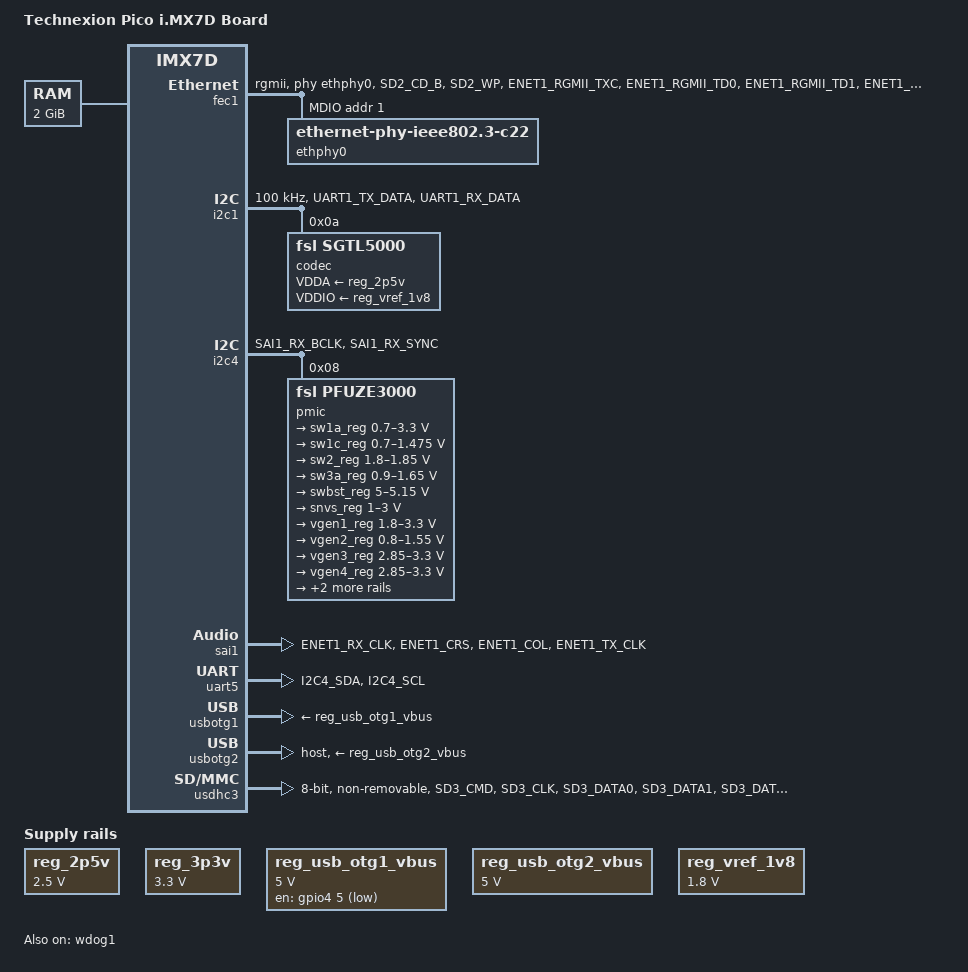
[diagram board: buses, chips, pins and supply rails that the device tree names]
/*
 * Copyright 2017 NXP
 *
 * This file is dual-licensed: you can use it either under the terms
 * of the GPL or the X11 license, at your option. Note that this dual
 * licensing only applies to this file, and not this project as a
 * whole.
 *
 *  a) This file is free software; you can redistribute it and/or
 *     modify it under the terms of the GNU General Public License as
 *     published by the Free Software Foundation; either version 2 of the
 *     License, or (at your option) any later version.
 *
 *     This file is distributed in the hope that it will be useful,
 *     but WITHOUT ANY WARRANTY; without even the implied warranty of
 *     MERCHANTABILITY or FITNESS FOR A PARTICULAR PURPOSE.  See the
 *     GNU General Public License for more details.
 *
 * Or, alternatively,
 *
 *  b) Permission is hereby granted, free of charge, to any person
 *     obtaining a copy of this software and associated documentation
 *     files (the "Software"), to deal in the Software without
 *     restriction, including without limitation the rights to use,
 *     copy, modify, merge, publish, distribute, sublicense, and/or
 *     sell copies of the Software, and to permit persons to whom the
 *     Software is furnished to do so, subject to the following
 *     conditions:
 *
 *     The above copyright notice and this permission notice shall be
 *     included in all copies or substantial portions of the Software.
 *
 *     THE SOFTWARE IS PROVIDED "AS IS", WITHOUT WARRANTY OF ANY KIND,
 *     EXPRESS OR IMPLIED, INCLUDING BUT NOT LIMITED TO THE WARRANTIES
 *     OF MERCHANTABILITY, FITNESS FOR A PARTICULAR PURPOSE AND
 *     NONINFRINGEMENT. IN NO EVENT SHALL THE AUTHORS OR COPYRIGHT
 *     HOLDERS BE LIABLE FOR ANY CLAIM, DAMAGES OR OTHER LIABILITY,
 *     WHETHER IN AN ACTION OF CONTRACT, TORT OR OTHERWISE, ARISING
 *     FROM, OUT OF OR IN CONNECTION WITH THE SOFTWARE OR THE USE OR
 *     OTHER DEALINGS IN THE SOFTWARE.
 */

/dts-v1/;

#include "imx7d.dtsi"

/ {
	model = "Technexion Pico i.MX7D Board";
	compatible = "technexion,imx7d-pico", "fsl,imx7d";

	memory {
		reg = <0x80000000 0x80000000>;
	};

	reg_2p5v: regulator-2p5v {
		compatible = "regulator-fixed";
		regulator-name = "2P5V";
		regulator-min-microvolt = <2500000>;
		regulator-max-microvolt = <2500000>;
		regulator-always-on;
	};

	reg_3p3v: regulator-3p3v {
		compatible = "regulator-fixed";
		regulator-name = "3P3V";
		regulator-min-microvolt = <3300000>;
		regulator-max-microvolt = <3300000>;
		regulator-always-on;
	};

	reg_usb_otg1_vbus: regulator-usb-otg1-vbus {
		compatible = "regulator-fixed";
		regulator-name = "usb_otg1_vbus";
		regulator-min-microvolt = <5000000>;
		regulator-max-microvolt = <5000000>;
		gpio = <&gpio4 5 GPIO_ACTIVE_LOW>;
	};

	reg_usb_otg2_vbus: regulator-usb-otg2-vbus {
		compatible = "regulator-fixed";
		regulator-name = "usb_otg2_vbus";
		regulator-min-microvolt = <5000000>;
		regulator-max-microvolt = <5000000>;
	};

	reg_vref_1v8: regulator-vref-1v8 {
		compatible = "regulator-fixed";
		regulator-name = "vref-1v8";
		regulator-min-microvolt = <1800000>;
		regulator-max-microvolt = <1800000>;
	};

	sound {
		compatible = "simple-audio-card";
		simple-audio-card,name = "imx7-sgtl5000";
		simple-audio-card,format = "i2s";
		simple-audio-card,bitclock-master = <&dailink_master>;
		simple-audio-card,frame-master = <&dailink_master>;
		simple-audio-card,cpu {
			sound-dai = <&sai1>;
		};

		dailink_master: simple-audio-card,codec {
			sound-dai = <&codec>;
			clocks = <&clks IMX7D_AUDIO_MCLK_ROOT_CLK>;
		};
	};
};

&fec1 {
	pinctrl-names = "default";
	pinctrl-0 = <&pinctrl_enet1>;
	assigned-clocks = <&clks IMX7D_ENET1_TIME_ROOT_SRC>,
			  <&clks IMX7D_ENET1_TIME_ROOT_CLK>;
	assigned-clock-parents = <&clks IMX7D_PLL_ENET_MAIN_100M_CLK>;
	assigned-clock-rates = <0>, <100000000>;
	phy-mode = "rgmii";
	phy-handle = <&ethphy0>;
	fsl,magic-packet;
	status = "okay";

	mdio {
		#address-cells = <1>;
		#size-cells = <0>;

		ethphy0: ethernet-phy@1 {
			compatible = "ethernet-phy-ieee802.3-c22";
			reg = <1>;
			status = "okay";
		};
	};
};

&i2c1 {
	clock-frequency = <100000>;
	pinctrl-names = "default";
	pinctrl-0 = <&pinctrl_i2c1>;
	status = "okay";

	codec: sgtl5000@a {
		#sound-dai-cells = <0>;
		reg = <0x0a>;
		compatible = "fsl,sgtl5000";
		clocks = <&clks IMX7D_AUDIO_MCLK_ROOT_CLK>;
		VDDA-supply = <&reg_2p5v>;
		VDDIO-supply = <&reg_vref_1v8>;
	};
};

&i2c4 {
	pinctrl-names = "default";
	pinctrl-0 = <&pinctrl_i2c4>;
	status = "okay";

	pmic: pfuze3000@8 {
		compatible = "fsl,pfuze3000";
		reg = <0x08>;

		regulators {
			sw1a_reg: sw1a {
				regulator-min-microvolt = <700000>;
				regulator-max-microvolt = <3300000>;
				regulator-boot-on;
				regulator-always-on;
				regulator-ramp-delay = <6250>;
			};
			/* use sw1c_reg to align with pfuze100/pfuze200 */
			sw1c_reg: sw1b {
				regulator-min-microvolt = <700000>;
				regulator-max-microvolt = <1475000>;
				regulator-boot-on;
				regulator-always-on;
				regulator-ramp-delay = <6250>;
			};

			sw2_reg: sw2 {
				regulator-min-microvolt = <1800000>;
				regulator-max-microvolt = <1850000>;
				regulator-boot-on;
				regulator-always-on;
			};

			sw3a_reg: sw3 {
				regulator-min-microvolt = <900000>;
				regulator-max-microvolt = <1650000>;
				regulator-boot-on;
				regulator-always-on;
			};

			swbst_reg: swbst {
				regulator-min-microvolt = <5000000>;
				regulator-max-microvolt = <5150000>;
			};

			snvs_reg: vsnvs {
				regulator-min-microvolt = <1000000>;
				regulator-max-microvolt = <3000000>;
				regulator-boot-on;
				regulator-always-on;
			};

			vref_reg: vrefddr {
				regulator-boot-on;
				regulator-always-on;
			};

			vgen1_reg: vldo1 {
				regulator-min-microvolt = <1800000>;
				regulator-max-microvolt = <3300000>;
				regulator-always-on;
			};

			vgen2_reg: vldo2 {
				regulator-min-microvolt = <800000>;
				regulator-max-microvolt = <1550000>;
			};

			vgen3_reg: vccsd {
				regulator-min-microvolt = <2850000>;
				regulator-max-microvolt = <3300000>;
				regulator-always-on;
			};

			vgen4_reg: v33 {
				regulator-min-microvolt = <2850000>;
				regulator-max-microvolt = <3300000>;
				regulator-always-on;
			};

			vgen5_reg: vldo3 {
				regulator-min-microvolt = <1800000>;
				regulator-max-microvolt = <3300000>;
				regulator-always-on;
			};

			vgen6_reg: vldo4 {
				regulator-min-microvolt = <1800000>;
				regulator-max-microvolt = <3300000>;
				regulator-always-on;
			};
		};
	};
};

&sai1 {
	pinctrl-names = "default";
	pinctrl-0 = <&pinctrl_sai1>;
	assigned-clocks = <&clks IMX7D_SAI1_ROOT_SRC>,
			  <&clks IMX7D_SAI1_ROOT_CLK>;
	assigned-clock-parents = <&clks IMX7D_PLL_AUDIO_POST_DIV>;
	assigned-clock-rates = <0>, <24576000>;
	status = "okay";
};

&uart5 {
	pinctrl-names = "default";
	pinctrl-0 = <&pinctrl_uart5>;
	assigned-clocks = <&clks IMX7D_UART5_ROOT_SRC>;
	assigned-clock-parents = <&clks IMX7D_PLL_SYS_MAIN_240M_CLK>;
	status = "okay";
};

&usbotg1 {
	vbus-supply = <&reg_usb_otg1_vbus>;
	status = "okay";
};

&usbotg2 {
	vbus-supply = <&reg_usb_otg2_vbus>;
	dr_mode = "host";
	status = "okay";
};

&usdhc3 {
	pinctrl-names = "default", "state_100mhz", "state_200mhz";
	pinctrl-0 = <&pinctrl_usdhc3>;
	pinctrl-1 = <&pinctrl_usdhc3_100mhz>;
	pinctrl-2 = <&pinctrl_usdhc3_200mhz>;
	assigned-clocks = <&clks IMX7D_USDHC3_ROOT_CLK>;
	assigned-clock-rates = <400000000>;
	bus-width = <8>;
	no-1-8-v;
	fsl,tuning-step = <2>;
	non-removable;
	status = "okay";
};

&wdog1 {
	pinctrl-names = "default";
	pinctrl-0 = <&pinctrl_wdog>;
	fsl,ext-reset-output;
	status = "okay";
};

&iomuxc {
	pinctrl_enet1: enet1grp {
		fsl,pins = <
			MX7D_PAD_SD2_CD_B__ENET1_MDIO			0x3
			MX7D_PAD_SD2_WP__ENET1_MDC			0x3
			MX7D_PAD_ENET1_RGMII_TXC__ENET1_RGMII_TXC	0x1
			MX7D_PAD_ENET1_RGMII_TD0__ENET1_RGMII_TD0	0x1
			MX7D_PAD_ENET1_RGMII_TD1__ENET1_RGMII_TD1	0x1
			MX7D_PAD_ENET1_RGMII_TD2__ENET1_RGMII_TD2	0x1
			MX7D_PAD_ENET1_RGMII_TD3__ENET1_RGMII_TD3	0x1
			MX7D_PAD_ENET1_RGMII_TX_CTL__ENET1_RGMII_TX_CTL	0x1
			MX7D_PAD_ENET1_RGMII_RXC__ENET1_RGMII_RXC	0x1
			MX7D_PAD_ENET1_RGMII_RD0__ENET1_RGMII_RD0	0x1
			MX7D_PAD_ENET1_RGMII_RD1__ENET1_RGMII_RD1	0x1
			MX7D_PAD_ENET1_RGMII_RD2__ENET1_RGMII_RD2	0x1
			MX7D_PAD_ENET1_RGMII_RD3__ENET1_RGMII_RD3	0x1
			MX7D_PAD_ENET1_RGMII_RX_CTL__ENET1_RGMII_RX_CTL	0x1
		>;
	};

	pinctrl_i2c1: i2c1grp {
		fsl,pins = <
			MX7D_PAD_UART1_TX_DATA__I2C1_SDA	0x4000007f
			MX7D_PAD_UART1_RX_DATA__I2C1_SCL	0x4000007f
		>;
	};

	pinctrl_i2c4: i2c4grp {
		fsl,pins = <
			MX7D_PAD_SAI1_RX_BCLK__I2C4_SDA		0x4000007f
			MX7D_PAD_SAI1_RX_SYNC__I2C4_SCL		0x4000007f
		>;
	};

	pinctrl_sai1: sai1grp {
		fsl,pins = <
			MX7D_PAD_ENET1_RX_CLK__SAI1_TX_BCLK	0x1f
			MX7D_PAD_ENET1_CRS__SAI1_TX_SYNC	0x1f
			MX7D_PAD_ENET1_COL__SAI1_TX_DATA0	0x30
			MX7D_PAD_ENET1_TX_CLK__SAI1_RX_DATA0	0x1f
		>;
	};

	pinctrl_uart5: uart5grp {
		fsl,pins = <
			MX7D_PAD_I2C4_SDA__UART5_DCE_TX		0x79
			MX7D_PAD_I2C4_SCL__UART5_DCE_RX		0x79
		>;
	};

	pinctrl_usbotg1_pwr: usbotg_pwr {
		fsl,pins = <
			MX7D_PAD_UART3_TX_DATA__GPIO4_IO5	0x14
		>;
	};

	pinctrl_usdhc3: usdhc3grp {
		fsl,pins = <
			MX7D_PAD_SD3_CMD__SD3_CMD		0x59
			MX7D_PAD_SD3_CLK__SD3_CLK		0x19
			MX7D_PAD_SD3_DATA0__SD3_DATA0		0x59
			MX7D_PAD_SD3_DATA1__SD3_DATA1		0x59
			MX7D_PAD_SD3_DATA2__SD3_DATA2		0x59
			MX7D_PAD_SD3_DATA3__SD3_DATA3		0x59
			MX7D_PAD_SD3_DATA4__SD3_DATA4		0x59
			MX7D_PAD_SD3_DATA5__SD3_DATA5		0x59
			MX7D_PAD_SD3_DATA6__SD3_DATA6		0x59
			MX7D_PAD_SD3_DATA7__SD3_DATA7		0x59
		>;
	};

	pinctrl_usdhc3_100mhz: usdhc3grp_100mhz {
		fsl,pins = <
			MX7D_PAD_SD3_CMD__SD3_CMD		0x5a
			MX7D_PAD_SD3_CLK__SD3_CLK		0x1a
			MX7D_PAD_SD3_DATA0__SD3_DATA0		0x5a
			MX7D_PAD_SD3_DATA1__SD3_DATA1		0x5a
			MX7D_PAD_SD3_DATA2__SD3_DATA2		0x5a
			MX7D_PAD_SD3_DATA3__SD3_DATA3		0x5a
			MX7D_PAD_SD3_DATA4__SD3_DATA4		0x5a
			MX7D_PAD_SD3_DATA5__SD3_DATA5		0x5a
			MX7D_PAD_SD3_DATA6__SD3_DATA6		0x5a
			MX7D_PAD_SD3_DATA7__SD3_DATA7		0x5a
		>;
	};

	pinctrl_usdhc3_200mhz: usdhc3grp_200mhz {
		fsl,pins = <
			MX7D_PAD_SD3_CMD__SD3_CMD		0x5b
			MX7D_PAD_SD3_CLK__SD3_CLK		0x1b
			MX7D_PAD_SD3_DATA0__SD3_DATA0		0x5b
			MX7D_PAD_SD3_DATA1__SD3_DATA1		0x5b
			MX7D_PAD_SD3_DATA2__SD3_DATA2		0x5b
			MX7D_PAD_SD3_DATA3__SD3_DATA3		0x5b
			MX7D_PAD_SD3_DATA4__SD3_DATA4		0x5b
			MX7D_PAD_SD3_DATA5__SD3_DATA5		0x5b
			MX7D_PAD_SD3_DATA6__SD3_DATA6		0x5b
			MX7D_PAD_SD3_DATA7__SD3_DATA7		0x5b
		>;
	};
};

&iomuxc_lpsr {
	pinctrl_wdog: wdoggrp {
		fsl,pins = <
			MX7D_PAD_LPSR_GPIO1_IO00__WDOG1_WDOG_B	0x74
		>;
	};
};
